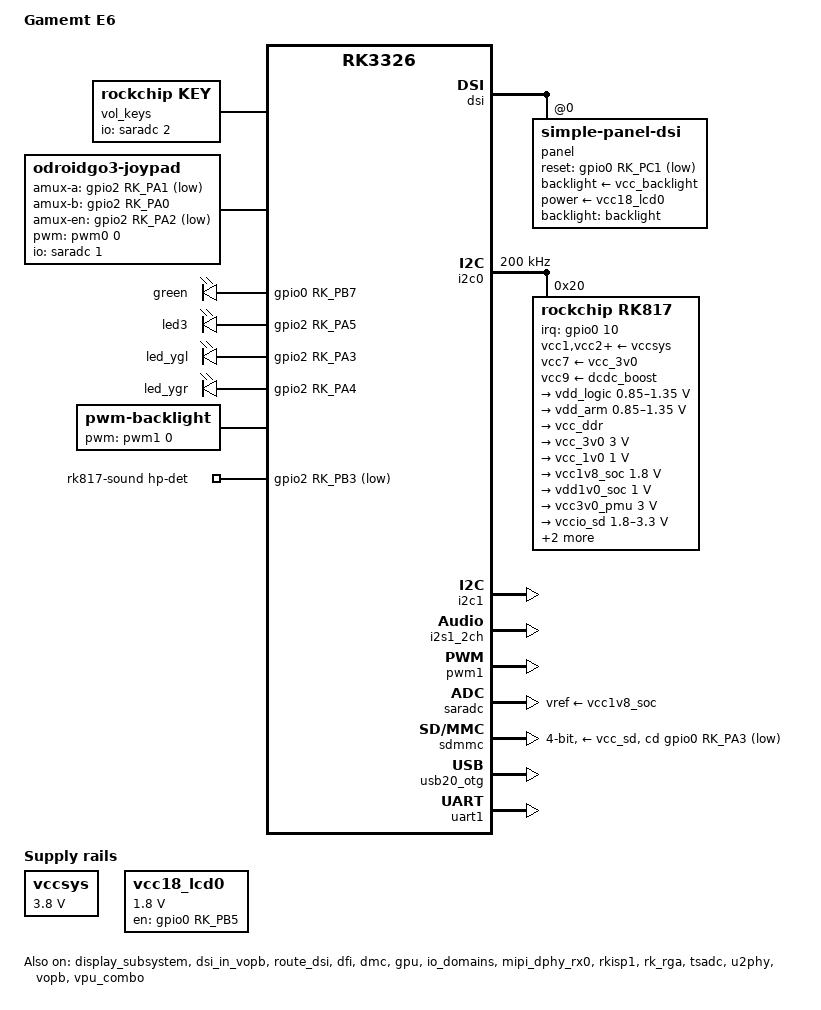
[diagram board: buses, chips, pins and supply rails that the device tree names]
// SPDX-License-Identifier: (GPL-2.0+ OR MIT)
/*
* Copyright (c) 2020 Hardkernel Co., Ltd
*/

/dts-v1/;
#include <dt-bindings/display/drm_mipi_dsi.h>
#include <dt-bindings/gpio/gpio.h>
#include <dt-bindings/input/input.h>
#include <dt-bindings/pinctrl/rockchip.h>
#include <dt-bindings/sensor-dev.h>
#include "rk3326.dtsi"
#include "rk3326-linux.dtsi"

/ {
	model = "Gamemt E6";
	compatible = "rockchip,rk3326-e6-linux", "rockchip,rk3326";
	
	chosen {
		bootargs = "";
	};
	
	aliases {
		mmc0 = &sdmmc;
	};
	
	vol_keys: rg351-keys {
		compatible = "rockchip,key";
		io-channels = <&saradc 2>;
		poll-interval = <50>;
		autorepeat;
		
		repeat-delay-ms = <300>;// 按住后 300ms 开始连发
		repeat-period-ms = <40>;// 之后每 40ms 连发一次（约 25 次/秒）
		vol-down-key {
			linux,code = <KEY_VOLUMEDOWN>;
			label = "volume down";
			rockchip,adc_value = <166>;
		};
		
		vol-up-key {
			linux,code = <KEY_VOLUMEUP>;
			label = "volume up";
			rockchip,adc_value = <9>;
		};
		
		select-key {
			label = "select";
			linux,code = <KEY_RIGHTSHIFT>;
			rockchip,adc_value = <355>;
		};
		
		start-key {
			label = "start";
			linux,code = <KEY_ENTER>;
			rockchip,adc_value = <745>;
		};
		
		fn-key {
			label = "esc/FN";
			linux,code = <KEY_ESC>;
			rockchip,adc_value = <561>;
		};
	};
	
	joypad: odroidgo3-joypad {
		compatible = "odroidgo3-joypad";
		pwms = <&pwm0 0 200000000 0>;
		pwm-names = "enable";
		rumble-boost-weak = <0x0000>;
		rumble-boost-strong = <0x0000>;
		joypad-name = "GO-Super Gamepad";
		joypad-product = <0x1100>;
		joypad-revision = <0x0100>;
		status = "okay";
		
		/* gpio pincontrol setup */
		pinctrl-names = "default";
		pinctrl-0 = <&btn_pins>;
		pinctrl-1 = <&pwm0_pin>;
		/* Analog mux define */
		io-channel-names = "amux_adc";
		io-channels = <&saradc 1>;
		
		/* adc mux channel count */
		amux-count = <4>;
		amux-channel-mapping = <0 1 2 3>;
		/* adc mux select(a,b) gpio */
		amux-a-gpios = <&gpio2 RK_PA1 GPIO_ACTIVE_LOW>;
		amux-b-gpios = <&gpio2 RK_PA0 GPIO_ACTIVE_HIGH>;
		/* adc mux enable gpio */
		amux-en-gpios = <&gpio2 RK_PA2 GPIO_ACTIVE_LOW>;
		/* adc calculate scale */
		button-adc-scale = <2>;
		/* adc deadzone range  */
		button-adc-deadzone = <64>;
		/*
		specifies fuzz value that is used to filter noise from
		the event stream.
		*/
		button-adc-fuzz = <32>;
		button-adc-flat = <32>;
		/*
		Analog Stick data tuning value(precent)
		p = positive direction, n = negative direction
		report value = (real_adc_data * tuning_value) / 100
		*/
		abs_x-p-tuning = <200>;
		abs_x-n-tuning = <800>;
		
		abs_y-p-tuning = <200>;
		abs_y-n-tuning = <800>;
		
		abs_rx-p-tuning = <800>;
		abs_rx-n-tuning = <1000>;
		
		abs_ry-p-tuning = <800>;
		abs_ry-n-tuning = <1400>;
		
		/* poll device interval (ms), adc read interval */
		poll-interval = <10>;
		
		sw1 {
			gpios = <&gpio3 RK_PD1 GPIO_ACTIVE_LOW>;
			label = "GPIO DPAD-UP";
			linux,code = <BTN_DPAD_UP>;
		};
		sw2 {
			gpios = <&gpio3 RK_PD2 GPIO_ACTIVE_LOW>;
			label = "GPIO DPAD-DOWN";
			linux,code = <BTN_DPAD_DOWN>;
		};
		sw3 {
			gpios = <&gpio3 RK_PB5 GPIO_ACTIVE_LOW>;
			label = "GPIO DPAD-LEFT";
			linux,code = <BTN_DPAD_LEFT>;
		};
		sw4 {
			gpios = <&gpio3 RK_PD0 GPIO_ACTIVE_LOW>;
			label = "GPIO DPAD-RIGHT";
			linux,code = <BTN_DPAD_RIGHT>;
		};
		sw5 {
			gpios = <&gpio3 RK_PC4 GPIO_ACTIVE_LOW>;
			label = "GPIO KEY BTN-A";
			linux,code = <BTN_EAST>;
		};
		sw6 {
			gpios = <&gpio3 RK_PC5 GPIO_ACTIVE_LOW>;
			label = "GPIO BTN-B";
			linux,code = <BTN_SOUTH>;
		};
		sw7 {
			gpios = <&gpio3 RK_PB3 GPIO_ACTIVE_LOW>;
			label = "GPIO BTN-Y";
			linux,code = <BTN_WEST>;
		};
		sw8 {
			gpios = <&gpio3 RK_PB2 GPIO_ACTIVE_LOW>;
			label = "GPIO BTN-X";
			linux,code = <BTN_NORTH>;
		};
		sw11 {
			gpios = <&gpio2 RK_PB1 GPIO_ACTIVE_LOW>;
			label = "BTN_THUMBL";
			linux,code = <BTN_TRIGGER_HAPPY3>;
		};
		sw12 {
			gpios = <&gpio2 RK_PB2 GPIO_ACTIVE_LOW>;
			label = "BTN_THUMBR";
			linux,code = <BTN_TRIGGER_HAPPY4>;
		};
		sw13 {
			gpios = <&gpio3 RK_PB4 GPIO_ACTIVE_LOW>;
			label = "GPIO BTN_F";
			linux,code = <BTN_TRIGGER_HAPPY5>;
		};
		sw15 {
			gpios = <&gpio3 RK_PC3 GPIO_ACTIVE_LOW>;
			label = "GPIO BTN_TL";
			linux,code = <BTN_TL>;
		};
		sw16 {
			gpios = <&gpio3 RK_PC1 GPIO_ACTIVE_LOW>;
			label = "GPIO BTN_TR";
			linux,code = <BTN_TR>;
		};
		sw19 {
			gpios = <&gpio0 RK_PC2 GPIO_ACTIVE_LOW>;
			label = "BTN_SELECT";
			linux,code = <BTN_TRIGGER_HAPPY1>;
		};
		sw20 {
			gpios = <&gpio3 RK_PC0 GPIO_ACTIVE_LOW>;
			label = "GPIO BTN_TR2";
			linux,code = <BTN_TR2>;
		};
		sw21 {
			gpios = <&gpio3 RK_PC2 GPIO_ACTIVE_LOW>;
			label = "GPIO BTN_TL2";
			linux,code = <BTN_TL2>;
		};
		sw22 {
			gpios = <&gpio3 RK_PA7 GPIO_ACTIVE_LOW>;
			label = "BTN_START";
			linux,code = <BTN_TRIGGER_HAPPY2>;
		};
	};
	
	fiq-debugger {
		compatible = "rockchip,fiq-debugger";
		rockchip,serial-id = <2>;
		rockchip,wake-irq = <0>;
		/* If enable uart uses irq instead of fiq */
		rockchip,irq-mode-enable = <0>;
		rockchip,baudrate = <115200>;  /* Only 115200 and 1500000 */
		interrupts = <GIC_SPI 127 IRQ_TYPE_LEVEL_LOW>;
		pinctrl-names = "default";
		pinctrl-0 = <&uart2m1_xfer>;
		status = "okay";
	};
	
	leds: gpio_leds {
		compatible = "gpio-leds";
		
		pinctrl-names = "led_pins";
		pinctrl-0 = <&led_pins>;
		
		green {
			gpios = <&gpio0 RK_PB7 GPIO_ACTIVE_HIGH>;
			default-state = "on";
		};
		
		led3 {
			gpios = <&gpio2 RK_PA5 GPIO_ACTIVE_HIGH>;
			default-state = "on";
		};
		
		led_ygl {
			gpios = <&gpio2 RK_PA3 GPIO_ACTIVE_HIGH>;
			default-state = "on";
		};
		
		led_ygr {
			gpios = <&gpio2 RK_PA4 GPIO_ACTIVE_HIGH>;
			default-state = "on";
		};
	};
	
	backlight: backlight {
		compatible = "pwm-backlight";
		pwms = <&pwm1 0 25000 0>;
		brightness-levels = <
		0   1   2   3   4   5   6   7
		8   9  10  11  12  13  14  15
		16  17  18  19  20  21  22  23
		24  25  26  27  28  29  30  31
		32  33  34  35  36  37  38  39
		40  41  42  43  44  45  46  47
		48  49  50  51  52  53  54  55
		56  57  58  59  60  61  62  63
		64  65  66  67  68  69  70  71
		72  73  74  75  76  77  78  79
		80  81  82  83  84  85  86  87
		88  89  90  91  92  93  94  95
		96  97  98  99 100 101 102 103
		104 105 106 107 108 109 110 111
		112 113 114 115 116 117 118 119
		120 121 122 123 124 125 126 127
		128 129 130 131 132 133 134 135
		136 137 138 139 140 141 142 143
		144 145 146 147 148 149 150 151
		152 153 154 155 156 157 158 159
		160 161 162 163 164 165 166 167
		168 169 170 171 172 173 174 175
		176 177 178 179 180 181 182 183
		184 185 186 187 188 189 190 191
		192 193 194 195 196 197 198 199
		200 201 202 203 204 205 206 207
		208 209 210 211 212 213 214 215
		216 217 218 219 220 221 222 223
		224 225 226 227 228 229 230 231
		232 233 234 235 236 237 238 239
		240 241 242 243 244 245 246 247
		248 249 250 251 252 253 254 255>;
		default-brightness-level = <200>;
	};
	
	rk817-sound {
		compatible = "simple-audio-card";
		simple-audio-card,format = "i2s";
		simple-audio-card,name = "rockchip,rk817-codec";
		simple-audio-card,mclk-fs = <256>;
		simple-audio-card,widgets =
		"Microphone", "Mic Jack",
		"Headphone", "Headphone Jack";
		simple-audio-card,routing =
		"MIC_IN", "Mic Jack",
		/*"IN1P", "Mic Jack",*/
		"Headphone Jack", "HPOL",
		"Headphone Jack", "HPOR";
		simple-audio-card,hp-det-gpio = <&gpio2 RK_PB3 GPIO_ACTIVE_LOW>;
		simple-audio-card,codec-hp-det = <1>;
		simple-audio-card,cpu {
			sound-dai = <&i2s1_2ch>;
		};
		simple-audio-card,codec {
			sound-dai = <&rk817_codec>;
		};
	};
	
	vccsys: vccsys {
		compatible = "regulator-fixed";
		regulator-name = "vcc3v8_sys";
		regulator-always-on;
		regulator-boot-on;
		regulator-min-microvolt = <3800000>;
		regulator-max-microvolt = <3800000>;
	};
	
	vcc18_lcd0: vcc18_lcd0 {
		compatible = "regulator-fixed";
		regulator-name = "vcc18_lcd0_n";
		regulator-min-microvolt = <1800000>;
		regulator-max-microvolt = <1800000>;
		gpio = <&gpio0 RK_PB5 GPIO_ACTIVE_LOW>;
		pinctrl-0 = <&vcc18_lcd_n>;
		pinctrl-names = "default";
		enable-active-high;
		regulator-boot-on;
		regulator-state-mem {
			regulator-off-in-suspend;
		};
	};

	dmc-fsp {
		compatible = "rockchip,px30s-dmc-fsp";
		debug_print_level = <0>;
		phy_de_skew_en = <1>;
		ddr3_params = <&ddr3_params>;
		ddr4_params = <&ddr4_params>;
		lpddr2_params = <&lpddr2_params>;
		lpddr3_params = <&lpddr3_params>;
		lpddr4_params = <&lpddr4_params>;
		ddr_timing = <&dmc>;
		status = "okay";
	};
	px30s_dmc_opp_table: px30s-dmc-opp-table {
		compatible = "operating-points-v2";

		opp-328000000 {
			opp-hz = <0x00 0x138ce200>;
			opp-microvolt = <0xf4240>;
		};

		opp-666000000 {
			opp-hz = <0x00 0x27b25a80>;
			opp-microvolt = <0xf4240>;
		};

		opp-786000000 {
			opp-hz = <0x00 0x2ed96880>;
			opp-microvolt = <0xf4240>;
		};
	};
	px30s_gpu_opp_table: px30s-gpu-opp-table	 {
		compatible = "operating-points-v2";

		opp-200000000 {
			opp-hz = <0x00 0xbebc200>;
			opp-microvolt = <0xf4240>;
		};

		opp-300000000 {
			opp-hz = <0x00 0x11e1a300>;
			opp-microvolt = <0xf4240>;
		};

		opp-400000000 {
			opp-hz = <0x00 0x17d78400>;
			opp-microvolt = <0xf4240>;
		};
	};
	px30s_cpu0_opp_table: px30s-cpu0-opp-table {
		compatible = "operating-points-v2";
		opp-shared;

		opp-408000000 {
			opp-hz = <0x00 0x18519600>;
			opp-microvolt = <0xcf850 0xcf850 0x118c30>;
			clock-latency-ns = <0x9c40>;
			opp-suspend;
		};

		opp-600000000 {
			opp-hz = <0x00 0x23c34600>;
			opp-microvolt = <0xcf850 0xcf850 0x118c30>;
			clock-latency-ns = <0x9c40>;
		};

		opp-816000000 {
			opp-hz = <0x00 0x30a32c00>;
			opp-microvolt = <0xcf850 0xcf850 0x118c30>;
			clock-latency-ns = <0x9c40>;
		};

		opp-1008000000 {
			opp-hz = <0x00 0x3c14dc00>;
			opp-microvolt = <0xdbba0 0xdbba0 0x118c30>;
			clock-latency-ns = <0x9c40>;
		};

		opp-1200000000 {
			opp-hz = <0x00 0x47868c00>;
			opp-microvolt = <0xee098 0xee098 0x118c30>;
			clock-latency-ns = <0x9c40>;
		};

		opp-1248000000 {
			opp-hz = <0x00 0x4a62f800>;
			opp-microvolt = <0xf4240 0xf4240 0x118c30>;
			clock-latency-ns = <0x9c40>;
		};

		opp-1296000000 {
			opp-hz = <0x00 0x4d3f6400>;
			opp-microvolt = <0xfa3e8 0xfa3e8 0x118c30>;
			clock-latency-ns = <0x9c40>;
		};

		opp-1416000000 {
			opp-hz = <0x00 0x54667200>;
			opp-microvolt = <0x106738 0x106738 0x118c30>;
			clock-latency-ns = <0x9c40>;
		};

		opp-1512000000 {
			opp-hz = <0x00 0x5a1f4a00>;
			opp-microvolt = <0x118c30 0x118c30 0x118c30>;
			clock-latency-ns = <0x9c40>;
		};
	};
};

&bus_apll {
	bus-supply = <&vdd_logic>;
	status = "okay";
};

&cpu0 {
	cpu-supply = <&vdd_arm>;
};

&cpu0_opp_table {
	rockchip,avs = <1>;
	
	/* bin scaling clock 1.296MHz */
	rockchip,bin-scaling-sel = <
	0               13
	1               15
	>;
	
	/delete-node/ opp-408000000;
	/delete-node/ opp-600000000;
	/delete-node/ opp-816000000;
};

&display_subsystem {
	status = "okay";
};

&dsi {
	status = "okay";
	
	panel@0 {
		compatible = "simple-panel-dsi";
		reg = <0>;
		/* pwm1 backlight */
		backlight = <&backlight>;
		/* RK817 LDO7 */
		backlight-supply = <&vcc_backlight>;
		/* RK817 LDO8 */
		power-supply = <&vcc18_lcd0>;
		
		/* Rev 0.2 LCD reset gpio GPIO3.C0 */
		reset-gpios = <&gpio0 RK_PC1 GPIO_ACTIVE_LOW>;
		
		prepare-delay-ms = <120>;
		reset-delay-ms = <200>;
		init-delay-ms = <120>;
		enable-delay-ms = <20>;
		disable-delay-ms = <20>;
		unprepare-delay-ms = <120>;
		
		/* LCD size */
		width-mm = <64>;
		height-mm = <48>;
		
		dsi,flags = <(MIPI_DSI_MODE_VIDEO           |
		MIPI_DSI_MODE_VIDEO_BURST     |
		MIPI_DSI_MODE_LPM             |
		MIPI_DSI_MODE_EOT_PACKET)>;
		
		dsi,format = <MIPI_DSI_FMT_RGB888>;
		dsi,lanes = <2>;
		
		panel-init-sequence = <0x390004b9 0xf1080139 0x5b122 0x1e1e8715 0x2b222 0x390009b3 0x1000606 0x18133935 0x390012ba 0x31004425 0x910a0000 0xc1000000 0xd024fb9 0xee390006 0xe3050501 0x1001500 0x2b40239 0x3b505 0x5390003 0xb6a9a939 0x3b864 0x20150002 0xcc021500 0x2bc4739 0x34e900 0x50366 0xa801230 0x37070a 0x80370006 0x1000000 0x8202469 0x98804888 0x88883135 0x79988158 0x88888800 0x00 0x00 0x3900 0x23e00002 0x7141630 0x102d070c 0xd0e1211 0x13181c00 0x2073020 0x30102d07 0xc0d1212 0x11130c15 0x5c80111 0x5640129>;
		panel-exit-sequence = <0x5100128 0x5200110>;
		
		display-timings {
			native-mode = <&timing0>;
			
			timing0: timing0 {
				clock-frequency = <28000000>;
				hactive = <480>;
				vactive = <854>;
				hfront-porch = <14>;
				hsync-len = <2>;
				hback-porch = <24>;
				vfront-porch = <20>;
				vsync-len = <2>;
				vback-porch = <15>;
				hsync-active = <0>;
				vsync-active = <0>;
				de-active = <0>;
				pixelclk-active = <0>;
			};
		};
	};
};

&dsi_in_vopb {
	status = "okay";
};

&route_dsi {
	connect = <&vopb_out_dsi>;
	status = "okay";
};

&dfi {
	status = "okay";
};

&dmc {
	center-supply = <&vdd_logic>;
	status = "okay";
};

&dmc_opp_table {
	/delete-node/ opp-194000000;
	/delete-node/ opp-328000000;
	/delete-node/ opp-450000000;
	
	opp-786000000 {
		status = "okay";
	};
};

&gpu_opp_table {
	/delete-node/ opp-200000000;
	/delete-node/ opp-300000000;
};

&emmc {
	status = "disabled";
};

&sfc {
	status = "disabled";
};

&gpu {
	mali-supply = <&vdd_logic>;
	status = "okay";
};

&i2c0 {
	status = "okay";
	clock-frequency = <200000>;
	i2c-scl-rising-time-ns = <280>;
	i2c-scl-falling-time-ns = <16>;
	
	rk817: pmic@20 {
		compatible = "rockchip,rk817";
		reg = <0x20>;
		interrupt-parent = <&gpio0>;
		interrupts = <10 IRQ_TYPE_LEVEL_LOW>;
		pinctrl-names = "default", "pmic-sleep",
		"pmic-power-off", "pmic-reset";
		pinctrl-0 = <&pmic_int>;
		pinctrl-1 = <&soc_slppin_slp>, <&rk817_slppin_slp>;
		pinctrl-2 = <&soc_slppin_gpio>, <&rk817_slppin_pwrdn>;
		pinctrl-3 = <&soc_slppin_rst>, <&rk817_slppin_rst>;
		rockchip,system-power-controller;
		wakeup-source;
		#clock-cells = <1>;
		clock-output-names = "rk808-clkout1", "rk808-clkout2";
		//fb-inner-reg-idxs = <2>;
		
		/* 1: rst regs (default in codes), 0: rst the pmic */
		pmic-reset-func = <1>;
		
		vcc1-supply = <&vccsys>;
		vcc2-supply = <&vccsys>;
		vcc3-supply = <&vccsys>;
		vcc4-supply = <&vccsys>;
		vcc5-supply = <&vccsys>;
		vcc6-supply = <&vccsys>;
		vcc7-supply = <&vcc_3v0>;
		vcc8-supply = <&vccsys>;
		vcc9-supply = <&dcdc_boost>;
		
		pwrkey {
			status = "okay";
		};
		
		pinctrl_rk8xx: pinctrl_rk8xx {
			gpio-controller;
			#gpio-cells = <2>;
			
			rk817_ts_gpio1: rk817_ts_gpio1 {
				pins = "gpio_ts";
				function = "pin_fun1";
				/* output-low; */
				/* input-enable; */
			};
			
			rk817_gt_gpio2: rk817_gt_gpio2 {
				pins = "gpio_gt";
				function = "pin_fun1";
			};
			
			rk817_pin_ts: rk817_pin_ts {
				pins = "gpio_ts";
				function = "pin_fun0";
			};
			
			rk817_pin_gt: rk817_pin_gt {
				pins = "gpio_gt";
				function = "pin_fun0";
			};
			
			rk817_slppin_null: rk817_slppin_null {
				pins = "gpio_slp";
				function = "pin_fun0";
			};
			
			rk817_slppin_slp: rk817_slppin_slp {
				pins = "gpio_slp";
				function = "pin_fun1";
			};
			
			rk817_slppin_pwrdn: rk817_slppin_pwrdn {
				pins = "gpio_slp";
				function = "pin_fun2";
			};
			
			rk817_slppin_rst: rk817_slppin_rst {
				pins = "gpio_slp";
				function = "pin_fun3";
			};
		};
		
		regulators {
			vdd_logic: DCDC_REG1 {
				regulator-always-on;
				regulator-boot-on;
				regulator-min-microvolt = <850000>;
				regulator-max-microvolt = <1350000>;
				regulator-ramp-delay = <6001>;
				regulator-initial-mode = <0x2>;
				regulator-name = "vdd_logic";
				regulator-state-mem {
					regulator-on-in-suspend;
					regulator-suspend-microvolt = <950000>;
				};
			};
			
			vdd_arm: DCDC_REG2 {
				regulator-always-on;
				regulator-boot-on;
				regulator-min-microvolt = <850000>;
				regulator-max-microvolt = <1350000>;
				regulator-ramp-delay = <6001>;
				regulator-initial-mode = <0x2>;
				regulator-name = "vdd_arm";
				regulator-state-mem {
					regulator-off-in-suspend;
					regulator-suspend-microvolt = <950000>;
				};
			};
			
			vcc_ddr: DCDC_REG3 {
				regulator-always-on;
				regulator-boot-on;
				regulator-initial-mode = <0x2>;
				regulator-name = "vcc_ddr";
				regulator-state-mem {
					regulator-on-in-suspend;
				};
			};
			
			vcc_3v0: DCDC_REG4 {
				regulator-always-on;
				regulator-boot-on;
				regulator-min-microvolt = <3000000>;
				regulator-max-microvolt = <3000000>;
				regulator-initial-mode = <0x2>;
				regulator-name = "vcc_3v0";
				regulator-state-mem {
					regulator-off-in-suspend;
					regulator-suspend-microvolt = <3000000>;
				};
			};
			
			/* Not Used */
			vcc_1v0: LDO_REG1 {
				regulator-always-on;
				regulator-boot-on;
				regulator-min-microvolt = <1000000>;
				regulator-max-microvolt = <1000000>;
				regulator-name = "vcc_1v0";
				regulator-state-mem {
					regulator-on-in-suspend;
					regulator-suspend-microvolt = <1000000>;
				};
			};
			
			vcc1v8_soc: LDO_REG2 {
				regulator-always-on;
				regulator-boot-on;
				regulator-min-microvolt = <1800000>;
				regulator-max-microvolt = <1800000>;
				
				regulator-name = "vcc1v8_soc";
				regulator-state-mem {
					regulator-on-in-suspend;
					regulator-suspend-microvolt = <1800000>;
				};
			};
			
			vdd1v0_soc: LDO_REG3 {
				regulator-always-on;
				regulator-boot-on;
				regulator-min-microvolt = <1000000>;
				regulator-max-microvolt = <1000000>;
				
				regulator-name = "vcc1v0_soc";
				regulator-state-mem {
					regulator-on-in-suspend;
					regulator-suspend-microvolt = <1000000>;
				};
			};
			
			vcc3v0_pmu: LDO_REG4 {
				regulator-always-on;
				regulator-boot-on;
				regulator-min-microvolt = <3000000>;
				regulator-max-microvolt = <3000000>;
				
				regulator-name = "vcc3v0_pmu";
				regulator-state-mem {
					regulator-on-in-suspend;
					regulator-suspend-microvolt = <3000000>;
					
				};
			};
			
			vccio_sd: LDO_REG5 {
				regulator-always-on;
				regulator-boot-on;
				regulator-min-microvolt = <1800000>;
				regulator-max-microvolt = <3300000>;
				
				regulator-name = "vccio_sd";
				regulator-state-mem {
					regulator-on-in-suspend;
					regulator-suspend-microvolt = <3300000>;
				};
			};
			
			vcc_sd: LDO_REG6 {
				regulator-min-microvolt = <3300000>;
				regulator-max-microvolt = <3000000>;
				
				regulator-name = "vcc_sd";
				regulator-state-mem {
					regulator-on-in-suspend;
					regulator-suspend-microvolt = <3300000>;
					
				};
			};
			
			/* Rev 0.2 LCD Backlight Power */
			vcc_backlight: LDO_REG7 {
				regulator-boot-on;
				regulator-min-microvolt = <2800000>;
				regulator-max-microvolt = <2800000>;
				regulator-name = "vcc2v8_dvp";
				regulator-state-mem {
					regulator-off-in-suspend;
					regulator-suspend-microvolt = <2800000>;
				};
			};
			
			/* Rev 0.2 LCD IO Power */
			vcc_lcd: LDO_REG8 {
				regulator-boot-on;
				regulator-min-microvolt = <1800000>;
				regulator-max-microvolt = <1800000>;
				regulator-name = "vcc_lcd";
				regulator-state-mem {
					regulator-off-in-suspend;
					regulator-suspend-microvolt = <1800000>;
				};
			};
			
			dcdc_boost: BOOST {
				regulator-always-on;
				regulator-boot-on;
				regulator-min-microvolt = <4700000>;
				regulator-max-microvolt = <5400000>;
				regulator-name = "boost";
			};
			
			otg_switch: OTG_SWITCH {
				regulator-boot-on;
				regulator-name = "otg_switch";
			};
		};
		
		battery {
			compatible = "rk817,battery";
			ocv_table = <3400 3438 3479 3519 3550 3578 3598
			3613 3629 3647 3672 3713 3762 3807
			3852 3895 3939 3990 4035 4092 4172>;
			design_capacity = <4000>;
			design_qmax = <4100>;
			bat_res = <114>;
			sleep_enter_current = <300>;
			sleep_exit_current = <300>;
			sleep_filter_current = <100>;
			power_off_thresd = <3500>;
			zero_algorithm_vol = <3850>;
			max_soc_offset = <60>;
			monitor_sec = <5>;
			sample_res = <10>;
			virtual_power = <0>;
			energy_mode = <0>;
		};
		
		charger {
			compatible = "rk817,charger";
			min_input_voltage = <4500>;
			max_input_current = <1500>;
			max_chrg_current = <2000>;
			max_chrg_voltage = <4200>;
			chrg_term_mode = <0>;
			chrg_finish_cur = <300>;
			virtual_power = <0>;
			sample_res = <10>;
			
			/* P.C.B rev0.2 DC Detect & Charger Status LED GPIO */
			dc_det_gpio  = <&gpio0 RK_PB3 GPIO_ACTIVE_HIGH>;
			bat_low_gpio = <&gpio2 RK_PB5 GPIO_ACTIVE_HIGH>;
			
			extcon = <&u2phy>;
		};
		
		rk817_codec: codec {
			#sound-dai-cells = <0>;
			compatible = "rockchip,rk817-codec";
			clocks = <&cru SCLK_I2S1_OUT>;
			clock-names = "mclk";
			pinctrl-names = "default";
			pinctrl-0 = <&i2s1_2ch_mclk>;
			hp-volume = <20>;
			spk-volume = <3>;
			status = "okay";
		};
	};
};

/* EXT Header(P2) : 7(SCL:GPIO0.C2), 8(SDA:GPIO0.C3) */
&i2c1 {
	status = "okay";
};

/* MIPI CSI I2C */
&i2c2 {
	status = "disabled";
};

/* I2S 1 Channel Used */
&i2s1_2ch {
	status = "okay";
	#sound-dai-cells = <0>;
};

&io_domains {
	/* GRF Register Voltage select control */
	status = "okay";
	
	/* SDIO I/O Voltage */
	vccio1-supply = <&vcc1v8_soc>;
	/* SDMMC I/O Voltage */
	vccio2-supply = <&vccio_sd>;
	/* CAM I/O Voltage */
	vccio3-supply = <&vcc_3v0>;
	/* LVDS/LCDC I/O Voltage */
	vccio4-supply = <&vcc_3v0>;
	/* I2S I/O Voltage */
	vccio5-supply = <&vcc_3v0>;
	/* eMMC I/O Voltage */
	vccio6-supply = <&vcc_3v0>;
};

&isp_mmu {
	status = "okay";
};

&mipi_dphy_rx0 {
	status = "okay";
};

&rkisp1 {
	status = "okay";
};

&spi0 {
	status = "disabled";
};

&pmu_io_domains {
	/* PMU GRF Register Voltage select control */
	status = "okay";
	
	/* PMU I/O Voltage */
	pmuio1-supply = <&vcc3v0_pmu>;
	/* GPIO0_B/GPIO0_C, Flash */
	pmuio2-supply = <&vcc3v0_pmu>;
};

/* Rumble PWM */
&pwm0 {
	status = "disabled";
};

/* LCD Backlight PWM */
&pwm1 {
	status = "okay";
};

&rk_rga {
	status = "okay";
};

&rockchip_suspend {
	status = "okay";
	rockchip,sleep-debug-en = <1>;
};

&saradc {
	status = "okay";
	vref-supply = <&vcc1v8_soc>;
};

&sdmmc {
	bus-width = <4>;
	cap-mmc-highspeed;
	cap-sd-highspeed;
	supports-sd;
	card-detect-delay = <800>;
	ignore-pm-notify;
	cd-gpios = <&gpio0 RK_PA3 GPIO_ACTIVE_LOW>;
	sd-uhs-sdr12;
	sd-uhs-sdr25;
	sd-uhs-sdr50;
	sd-uhs-sdr104;
	vqmmc-supply = <&vccio_sd>;
	vmmc-supply = <&vcc_sd>;
	status = "okay";
};

&sdio {
	status = "disabled";
};

&tsadc {
	pinctrl-names = "gpio", "otpout";
	pinctrl-0 = <&tsadc_otp_gpio>;
	pinctrl-1 = <&tsadc_otp_out>;
	status = "okay";
};

&u2phy {
	status = "okay";
	
	u2phy_host: host-port {
		status = "okay";
	};
	
	u2phy_otg: otg-port {
		status = "okay";
	};
};

&usb20_otg {
	status = "okay";
};

&uart1 {
	pinctrl-names = "default";
	pinctrl-0 = <&uart1_xfer &uart1_cts>;
	status = "okay";
};

&vip_mmu {
	status = "disabled";
};

&vopb {
	status = "okay";
};

&vopb_mmu {
	status = "okay";
};

&vpu_combo {
	status = "okay";
};

&pinctrl {
	pmic {
		pmic_int: pmic_int {
			rockchip,pins =
			<0 RK_PB2 RK_FUNC_GPIO &pcfg_pull_up>;
		};
		
		soc_slppin_gpio: soc_slppin_gpio {
			rockchip,pins =
			<0 RK_PA4 RK_FUNC_GPIO &pcfg_output_low>;
		};
		
		soc_slppin_slp: soc_slppin_slp {
			rockchip,pins =
			<0 RK_PA4 RK_FUNC_1 &pcfg_pull_none>;
		};
		
		soc_slppin_rst: soc_slppin_rst {
			rockchip,pins =
			<0 RK_PA4 RK_FUNC_2 &pcfg_pull_none>;
		};
	};
	
	leds {
		led_pins: led-pins {
			rockchip,pins = 
			<0 RK_PB7 RK_FUNC_GPIO &pcfg_pull_none>,
			<2 RK_PA5 RK_FUNC_GPIO &pcfg_pull_none>,
			<2 RK_PA3 RK_FUNC_GPIO &pcfg_pull_none>,
			<2 RK_PA4 RK_FUNC_GPIO &pcfg_pull_none>;
		};
	};

	vcc18-lcd {
		vcc18_lcd_n: vcc18-lcd-n {
			rockchip,pins = <0 RK_PB5 RK_FUNC_GPIO &pcfg_pull_none>;
		};
	};

	btns {
		btn_pins: btn-pins {
			rockchip,pins =
			<3 RK_PD1 RK_FUNC_GPIO &pcfg_pull_up>,
			<3 RK_PD2 RK_FUNC_GPIO &pcfg_pull_up>,
			<3 RK_PB5 RK_FUNC_GPIO &pcfg_pull_up>,
			<3 RK_PD0 RK_FUNC_GPIO &pcfg_pull_up>,
			<3 RK_PC4 RK_FUNC_GPIO &pcfg_pull_up>,
			<3 RK_PC5 RK_FUNC_GPIO &pcfg_pull_up>,
			<3 RK_PB2 RK_FUNC_GPIO &pcfg_pull_up>,
			<3 RK_PB3 RK_FUNC_GPIO &pcfg_pull_up>,
			<0 RK_PC2 RK_FUNC_GPIO &pcfg_pull_up>,
			<3 RK_PA7 RK_FUNC_GPIO &pcfg_pull_up>,
			<3 RK_PB4 RK_FUNC_GPIO &pcfg_pull_up>,
			<3 RK_PC3 RK_FUNC_GPIO &pcfg_pull_up>,
			<3 RK_PC1 RK_FUNC_GPIO &pcfg_pull_up>,
			<3 RK_PC2 RK_FUNC_GPIO &pcfg_pull_up>,
			<3 RK_PC0 RK_FUNC_GPIO &pcfg_pull_up>,
			<2 RK_PB1 RK_FUNC_GPIO &pcfg_pull_up>,
			<2 RK_PB2 RK_FUNC_GPIO &pcfg_pull_up>;
		};
	};
};

/* DON'T PUT ANYTHING BELOW HERE.  PUT IT ABOVE PINCTRL */
/* DON'T PUT ANYTHING BELOW HERE.  PUT IT ABOVE PINCTRL */
/* DON'T PUT ANYTHING BELOW HERE.  PUT IT ABOVE PINCTRL */

